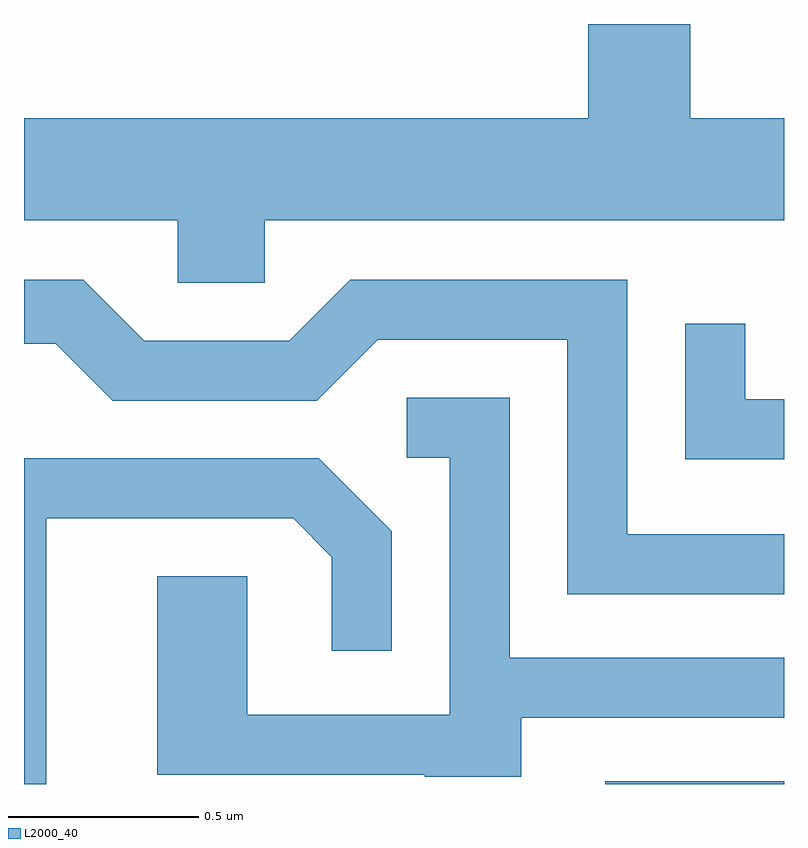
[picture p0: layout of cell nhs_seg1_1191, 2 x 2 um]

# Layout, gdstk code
import gdstk
lib = gdstk.Library(unit=1e-6, precision=1e-09)
def R(c, l, rs):  # rectangles x0, y0, x1, y1
    for r in rs: c.add(gdstk.rectangle(r[:2], r[2:], *l))
def P(c, l, *ps):  # polygons
    for p in ps: c.add(gdstk.Polygon(p, *l))
L2000_40 = (2000, 40)

nhs_seg1_1191 = lib.new_cell('nhs_seg1_1191')
R(nhs_seg1_1191, L2000_40, [(195.141,944.712,195.611,944.719)])
P(nhs_seg1_1191, L2000_40, [(194.244,946.196),(195.611,946.196),(195.611,946.464),(195.364,946.464),(195.364,946.712),(195.096,946.712),(195.096,946.464),(193.611,946.464),(193.611,946.196),(194.016,946.196),(194.016,946.031),(194.244,946.031)],
  [(195.611,945.369),(195.199,945.369),(195.199,946.039),(194.469,946.039),(194.309,945.879),(193.927,945.879),(193.767,946.039),(193.611,946.039),(193.611,945.871),(193.694,945.871),(193.844,945.721),(194.382,945.721),(194.542,945.881),(195.041,945.881),(195.041,945.211),(195.611,945.211)],
  [(195.611,945.724),(195.509,945.724),(195.509,945.923),(195.351,945.923),(195.351,945.566),(195.611,945.566)],
  [(194.919,944.886),(195.611,944.886),(195.611,945.044),(194.889,945.044),(194.889,945.729),(194.618,945.729),(194.618,945.571),(194.731,945.571),(194.731,944.894),(194.199,944.894),(194.199,945.259),(193.961,945.259),(193.961,944.736),(194.665,944.736),(194.665,944.731),(194.919,944.731)],
  [(193.669,945.411),(194.319,945.411),(194.421,945.309),(194.421,945.063),(194.579,945.063),(194.579,945.377),(194.387,945.569),(193.611,945.569),(193.611,944.712),(193.669,944.712)])

lib.write_gds('nhs_seg1_1191.gds')
